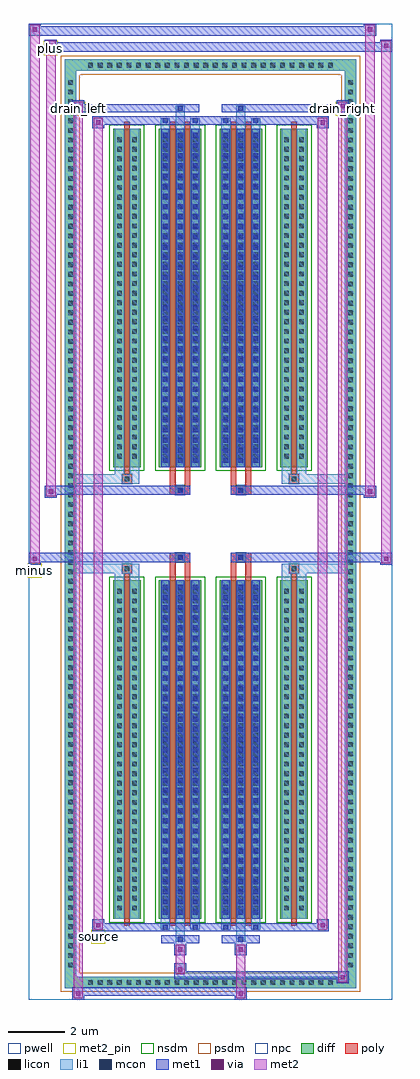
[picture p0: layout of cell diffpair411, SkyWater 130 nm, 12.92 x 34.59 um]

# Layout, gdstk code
import gdstk
lib = gdstk.Library(unit=1e-6, precision=5e-09)
def R(c, l, rs):  # rectangles x0, y0, x1, y1
    for r in rs: c.add(gdstk.rectangle(r[:2], r[2:], *l))
def A(c, l, x, y, w, h, nx, ny, dx, dy):  # array of equal rectangles
    R(c, l, [(x+i*dx, y+j*dy, x+i*dx+w, y+j*dy+h) for i in range(nx) for j in range(ny)])
def P(c, l, *ps):  # polygons
    for p in ps: c.add(gdstk.Polygon(p, *l))
pwell = (64, 44)
diff = (65, 20)
poly = (66, 20)
licon = (66, 44)
li1 = (67, 20)
mcon = (67, 44)
met1 = (68, 20)
via = (68, 44)
met2_pin = (69, 16)
met2 = (69, 20)
nsdm = (93, 44)
psdm = (94, 20)
npc = (95, 20)

diffpair411 = lib.new_cell('diffpair411')
R(diffpair411, pwell, [(-6.44,-16.86,6.44,17.73), (-3.76,-15.05,-0.01,-0.825), (0.01,-15.05,3.76,-0.825), (-3.76,0.825,-0.01,15.05), (0.01,0.825,3.76,15.05)])
A(diffpair411, diff, -4.455, -16.46, 0.41, 0.41, 26, 2, 0.34, 32.51)
A(diffpair411, diff, -5.17, -15.845, 0.41, 0.41, 1, 93, 0, 0.34)
A(diffpair411, diff, 4.76, -15.845, 0.41, 0.41, 1, 93, 0, 0.34)
R(diffpair411, diff, [(-4.455,-16.46,4.455,-16.05), (-5.17,-15.845,-4.76,15.845), (4.76,-15.845,5.17,15.845), (-3.45,-14.005,-2.47,-2.005), (-1.83,-14.005,-0.32,-2.005), (0.32,-14.005,1.83,-2.005), (2.47,-14.005,3.45,-2.005), (-3.45,2.005,-2.47,14.005), (-1.83,2.005,-0.32,14.005), (0.32,2.005,1.83,14.005), (2.47,2.005,3.45,14.005), (-4.455,16.05,4.455,16.46)])
P(diffpair411, diff, [(5.17,16.46),(-5.17,16.46),(-5.17,-16.05),(-4.76,-16.05),(-4.76,16.05),(4.76,16.05),(4.76,-16.05),(-4.76,-16.05),(-5.17,-16.05),(-5.17,-16.46),(5.17,-16.46)])
R(diffpair411, poly, [(-3.06,-14.255,-2.86,-1.755), (-1.44,-14.255,-1.24,-1.755), (-0.91,-14.255,-0.71,-1.755), (0.71,-14.255,0.91,-1.755), (1.24,-14.255,1.44,-1.755), (2.86,-14.255,3.06,-1.755), (-3.125,-1.755,-2.795,-1.425), (-3.125,-1.755,-2.795,-1.425), (-1.44,-1.755,-1.24,-1.355), (-0.91,-1.755,-0.71,-1.355), (0.71,-1.755,0.91,-1.355), (1.24,-1.755,1.44,-1.355), (2.795,-1.755,3.125,-1.425), (2.795,-1.755,3.125,-1.425), (-1.44,-1.355,-0.71,-1.025), (-1.24,-1.355,-0.91,-1.025), (0.71,-1.355,1.44,-1.025), (0.91,-1.355,1.24,-1.025), (-1.44,1.025,-0.71,1.355), (-1.24,1.025,-0.91,1.355), (0.71,1.025,1.44,1.355), (0.91,1.025,1.24,1.355), (-1.44,1.355,-1.24,1.755), (-0.91,1.355,-0.71,1.755), (0.71,1.355,0.91,1.755), (1.24,1.355,1.44,1.755), (-3.125,1.425,-2.795,1.755), (-3.125,1.425,-2.795,1.755), (2.795,1.425,3.125,1.755), (2.795,1.425,3.125,1.755), (-3.06,1.755,-2.86,14.255), (-1.44,1.755,-1.24,14.255), (-0.91,1.755,-0.71,14.255), (0.71,1.755,0.91,14.255), (1.24,1.755,1.44,14.255), (2.86,1.755,3.06,14.255)])
A(diffpair411, licon, -4.335, -16.34, 0.17, 0.17, 26, 2, 0.34, 32.51)
A(diffpair411, licon, -5.05, -15.725, 0.17, 0.17, 1, 93, 0, 0.34)
A(diffpair411, licon, 4.88, -15.725, 0.17, 0.17, 1, 93, 0, 0.34)
A(diffpair411, licon, -3.31, -13.7, 0.17, 0.17, 1, 34, 0, 0.34)
A(diffpair411, licon, -2.78, -13.7, 0.17, 0.17, 1, 34, 0, 0.34)
A(diffpair411, licon, -1.69, -13.7, 0.17, 0.17, 3, 34, 0.53, 0.34)
A(diffpair411, licon, 0.46, -13.7, 0.17, 0.17, 3, 34, 0.53, 0.34)
A(diffpair411, licon, 2.61, -13.7, 0.17, 0.17, 1, 34, 0, 0.34)
A(diffpair411, licon, 3.14, -13.7, 0.17, 0.17, 1, 34, 0, 0.34)
A(diffpair411, licon, -3.31, 2.31, 0.17, 0.17, 1, 34, 0, 0.34)
A(diffpair411, licon, -2.78, 2.31, 0.17, 0.17, 1, 34, 0, 0.34)
A(diffpair411, licon, -1.69, 2.31, 0.17, 0.17, 3, 34, 0.53, 0.34)
A(diffpair411, licon, 0.46, 2.31, 0.17, 0.17, 3, 34, 0.53, 0.34)
A(diffpair411, licon, 2.61, 2.31, 0.17, 0.17, 1, 34, 0, 0.34)
A(diffpair411, licon, 3.14, 2.31, 0.17, 0.17, 1, 34, 0, 0.34)
R(diffpair411, licon, [(-3.045,-1.675,-2.875,-1.505), (2.875,-1.675,3.045,-1.505), (-1.16,-1.275,-0.99,-1.105), (0.99,-1.275,1.16,-1.105), (-1.16,1.105,-0.99,1.275), (0.99,1.105,1.16,1.275), (-3.045,1.505,-2.875,1.675), (2.875,1.505,3.045,1.675)])
A(diffpair411, li1, -4.415, -16.42, 0.33, 0.33, 26, 2, 0.34, 32.51)
A(diffpair411, li1, -5.13, -15.805, 0.33, 0.33, 1, 93, 0, 0.34)
A(diffpair411, li1, 4.8, -15.805, 0.33, 0.33, 1, 93, 0, 0.34)
A(diffpair411, li1, -1.77, -14.005, 0.33, 12, 3, 2, 0.53, 16.01)
A(diffpair411, li1, 0.38, -14.005, 0.33, 12, 3, 2, 0.53, 16.01)
A(diffpair411, li1, -1.69, -13.85, 0.17, 0.17, 3, 33, 0.53, 0.36)
A(diffpair411, li1, -1.69, -13.85, 0.17, 11.69, 3, 2, 0.53, 16.01)
A(diffpair411, li1, 0.46, -13.85, 0.17, 0.17, 3, 33, 0.53, 0.36)
A(diffpair411, li1, 0.46, -13.85, 0.17, 11.69, 3, 2, 0.53, 16.01)
A(diffpair411, li1, -3.39, -13.78, 0.33, 0.33, 1, 34, 0, 0.34)
A(diffpair411, li1, -2.86, -13.78, 0.33, 0.33, 1, 34, 0, 0.34)
A(diffpair411, li1, -1.77, -13.78, 0.33, 0.33, 3, 34, 0.53, 0.34)
A(diffpair411, li1, 0.38, -13.78, 0.33, 0.33, 3, 34, 0.53, 0.34)
A(diffpair411, li1, 2.53, -13.78, 0.33, 0.33, 1, 34, 0, 0.34)
A(diffpair411, li1, 3.06, -13.78, 0.33, 0.33, 1, 34, 0, 0.34)
A(diffpair411, li1, -1.69, 2.16, 0.17, 0.17, 3, 33, 0.53, 0.36)
A(diffpair411, li1, 0.46, 2.16, 0.17, 0.17, 3, 33, 0.53, 0.36)
A(diffpair411, li1, -3.39, 2.23, 0.33, 0.33, 1, 34, 0, 0.34)
A(diffpair411, li1, -2.86, 2.23, 0.33, 0.33, 1, 34, 0, 0.34)
A(diffpair411, li1, -1.77, 2.23, 0.33, 0.33, 3, 34, 0.53, 0.34)
A(diffpair411, li1, 0.38, 2.23, 0.33, 0.33, 3, 34, 0.53, 0.34)
A(diffpair411, li1, 2.53, 2.23, 0.33, 0.33, 1, 34, 0, 0.34)
A(diffpair411, li1, 3.06, 2.23, 0.33, 0.33, 1, 34, 0, 0.34)
R(diffpair411, li1, [(-5.17,-16.46,-4.76,-16.05), (-5.17,-16.46,-4.76,-16.05), (-4.76,-16.46,4.76,-16.05), (4.76,-16.46,5.17,-16.05), (4.76,-16.46,5.17,-16.05), (-5.17,-16.05,-4.76,16.05), (4.76,-16.05,5.17,16.05), (-1.24,-14.81,-0.91,-14.005), (-1.16,-14.81,-0.99,-14.64), (0.91,-14.81,1.24,-14.005), (0.99,-14.81,1.16,-14.64), (-1.77,-14.38,-1.44,-14.005), (-1.69,-14.38,-1.52,-14.21), (-0.71,-14.38,-0.38,-14.005), (-0.63,-14.38,-0.46,-14.21), (0.38,-14.38,0.71,-14.005), (0.46,-14.38,0.63,-14.21), (1.44,-14.38,1.77,-14.005), (1.52,-14.38,1.69,-14.21), (-3.39,-14.005,-3.06,-2.005), (-2.86,-14.005,-2.53,-2.005), (2.53,-14.005,2.86,-2.005), (3.06,-14.005,3.39,-2.005), (-3.39,-2.005,-3.06,-1.425), (-2.86,-2.005,-2.53,-1.425), (2.53,-2.005,2.86,-1.425), (3.06,-2.005,3.39,-1.425), (-5.17,-1.755,-3.125,-1.425), (-3.39,-1.755,-3.125,-1.425), (-3.125,-1.755,-2.795,-1.425), (-2.795,-1.755,-2.53,-1.425), (2.53,-1.755,2.795,-1.425), (2.795,-1.755,3.125,-1.425), (2.795,-1.755,5.17,-1.425), (3.125,-1.755,3.39,-1.425), (-1.24,-1.355,-0.91,-1.025), (0.91,-1.355,1.24,-1.025), (-1.24,1.025,-0.91,1.355), (0.91,1.025,1.24,1.355), (-5.17,1.425,-3.125,1.755), (-3.39,1.425,-3.125,1.755), (-3.39,1.425,-3.06,2.005), (-3.125,1.425,-2.795,1.755), (-2.86,1.425,-2.53,2.005), (-2.795,1.425,-2.53,1.755), (2.53,1.425,2.795,1.755), (2.53,1.425,2.86,2.005), (2.795,1.425,3.125,1.755), (2.795,1.425,5.17,1.755), (3.06,1.425,3.39,2.005), (3.125,1.425,3.39,1.755), (-3.39,2.005,-3.06,14.005), (-2.86,2.005,-2.53,14.005), (2.53,2.005,2.86,14.005), (3.06,2.005,3.39,14.005), (-1.77,14.005,-1.44,14.38), (-1.24,14.005,-0.91,14.81), (-0.71,14.005,-0.38,14.38), (0.38,14.005,0.71,14.38), (0.91,14.005,1.24,14.81), (1.44,14.005,1.77,14.38), (-1.69,14.21,-1.52,14.38), (-0.63,14.21,-0.46,14.38), (0.46,14.21,0.63,14.38), (1.52,14.21,1.69,14.38), (-1.16,14.64,-0.99,14.81), (0.99,14.64,1.16,14.81), (-5.17,16.05,-4.76,16.46), (-5.17,16.05,-4.76,16.46), (-4.76,16.05,4.76,16.46), (4.76,16.05,5.17,16.46), (4.76,16.05,5.17,16.46)])
A(diffpair411, mcon, -1.69, -13.85, 0.17, 0.17, 3, 33, 0.53, 0.36)
A(diffpair411, mcon, 0.46, -13.85, 0.17, 0.17, 3, 33, 0.53, 0.36)
A(diffpair411, mcon, -1.69, 2.16, 0.17, 0.17, 3, 33, 0.53, 0.36)
A(diffpair411, mcon, 0.46, 2.16, 0.17, 0.17, 3, 33, 0.53, 0.36)
R(diffpair411, mcon, [(-1.16,-14.81,-0.99,-14.64), (0.99,-14.81,1.16,-14.64), (-1.69,-14.38,-1.52,-14.21), (-0.63,-14.38,-0.46,-14.21), (0.46,-14.38,0.63,-14.21), (1.52,-14.38,1.69,-14.21), (-1.16,-1.275,-0.99,-1.105), (0.99,-1.275,1.16,-1.105), (-1.16,1.105,-0.99,1.275), (0.99,1.105,1.16,1.275), (-1.69,14.21,-1.52,14.38), (-0.63,14.21,-0.46,14.38), (0.46,14.21,0.63,14.38), (1.52,14.21,1.69,14.38), (-1.16,14.64,-0.99,14.81), (0.99,14.64,1.16,14.81)])
A(diffpair411, met1, -1.75, -14.005, 0.29, 12, 3, 2, 0.53, 16.01)
A(diffpair411, met1, 0.4, -14.005, 0.29, 12, 3, 2, 0.53, 16.01)
A(diffpair411, met1, -1.75, -13.91, 0.29, 0.29, 3, 33, 0.53, 0.36)
A(diffpair411, met1, 0.4, -13.91, 0.29, 0.29, 3, 33, 0.53, 0.36)
A(diffpair411, met1, -1.75, 2.1, 0.29, 0.29, 3, 33, 0.53, 0.36)
A(diffpair411, met1, 0.4, 2.1, 0.29, 0.29, 3, 33, 0.53, 0.36)
R(diffpair411, met1, [(-4.9,-16.86,-4.47,-16.43), (0.86,-16.86,1.29,-16.43), (-4.9,-16.72,1.29,-16.43), (4.47,-16.29,4.9,-15.86), (-1.29,-16.15,4.9,-15.86), (-1.29,-16.01,-0.86,-15.58), (-1.29,-15.3,-0.86,-14.87), (0.86,-15.3,1.29,-14.87), (-1.75,-14.87,-0.4,-14.58), (-1.22,-14.87,-0.93,-14.58), (0.4,-14.87,1.75,-14.58), (0.93,-14.87,1.22,-14.58), (-4.19,-14.44,-3.76,-14.01), (-4.19,-14.44,-1.75,-14.15), (-1.75,-14.44,-1.46,-14.15), (-1.75,-14.44,-0.4,-14.15), (-0.69,-14.44,-0.4,-14.15), (-0.4,-14.44,0.4,-14.15), (0.4,-14.44,0.69,-14.15), (0.4,-14.44,1.75,-14.15), (1.46,-14.44,1.75,-14.15), (1.75,-14.44,4.19,-14.15), (3.76,-14.44,4.19,-14.01), (-6.44,-1.455,-6.01,-1.025), (6.01,-1.455,6.44,-1.025), (-6.44,-1.355,-0.71,-1.025), (-1.44,-1.355,-0.71,-1.025), (0.71,-1.355,1.44,-1.025), (0.71,-1.355,6.44,-1.025), (-1.22,-1.335,-0.93,-1.045), (0.93,-1.335,1.22,-1.045), (-5.87,0.925,-5.44,1.355), (5.44,0.925,5.87,1.355), (-5.87,1.025,-1.44,1.355), (-1.44,1.025,-0.71,1.355), (0.71,1.025,1.44,1.355), (1.44,1.025,5.87,1.355), (-1.22,1.045,-0.93,1.335), (0.93,1.045,1.22,1.335), (-4.19,14.01,-3.76,14.44), (3.76,14.01,4.19,14.44), (-4.19,14.15,-1.75,14.44), (-1.75,14.15,-1.46,14.44), (-1.75,14.15,-0.4,14.44), (-0.69,14.15,-0.4,14.44), (-0.4,14.15,0.4,14.44), (0.4,14.15,0.69,14.44), (0.4,14.15,1.75,14.44), (1.46,14.15,1.75,14.44), (1.75,14.15,4.19,14.44), (-4.9,14.58,-4.47,15.01), (-4.9,14.58,-1.75,14.87), (-1.75,14.58,-0.4,14.87), (-1.22,14.58,-0.93,14.87), (0.4,14.58,1.75,14.87), (0.93,14.58,1.22,14.87), (1.75,14.58,4.9,14.87), (4.47,14.58,4.9,15.01), (-5.87,16.73,-5.44,17.16), (-5.87,16.73,-3.76,17.06), (-3.76,16.73,3.76,17.06), (3.76,16.73,6.44,17.06), (6.01,16.73,6.44,17.16), (-6.44,17.3,-6.01,17.73), (-6.44,17.3,-3.76,17.63), (-3.76,17.3,3.76,17.63), (3.76,17.3,5.87,17.63), (5.44,17.3,5.87,17.73)])
R(diffpair411, via, [(-4.76,-16.72,-4.61,-16.57), (1,-16.72,1.15,-16.57), (4.61,-16.15,4.76,-16), (-1.15,-15.87,-1,-15.72), (-1.15,-15.16,-1,-15.01), (1,-15.16,1.15,-15.01), (-4.05,-14.3,-3.9,-14.15), (3.9,-14.3,4.05,-14.15), (-6.3,-1.315,-6.15,-1.165), (6.15,-1.315,6.3,-1.165), (-5.73,1.065,-5.58,1.215), (5.58,1.065,5.73,1.215), (-4.05,14.15,-3.9,14.3), (3.9,14.15,4.05,14.3), (-4.76,14.72,-4.61,14.87), (4.61,14.72,4.76,14.87), (-5.73,16.87,-5.58,17.02), (6.15,16.87,6.3,17.02), (-6.3,17.44,-6.15,17.59), (5.58,17.44,5.73,17.59)])
R(diffpair411, met2_pin, [(-4.225,-14.89,-3.725,-14.39), (-6.475,-1.905,-5.975,-1.405), (-4.935,14.46,-4.435,14.96), (4.435,14.46,4.935,14.96), (-5.905,16.61,-5.405,17.11)])
R(diffpair411, met2, [(-4.85,-16.81,-4.52,-16.48), (-4.85,-16.81,-4.52,14.96), (0.91,-16.81,1.24,-16.48), (0.91,-16.48,1.24,-15.25), (4.52,-16.24,4.85,-15.91), (4.52,-16.24,4.85,14.96), (-1.24,-15.96,-0.91,-15.63), (-1.24,-15.63,-0.91,-15.25), (-1.24,-15.25,-0.91,-14.92), (0.91,-15.25,1.24,-14.92), (-4.14,-14.39,-3.81,-14.06), (-4.14,-14.39,-3.81,14.39), (3.81,-14.39,4.14,-14.06), (3.81,-14.39,4.14,14.39), (-6.39,-1.405,-6.06,-1.075), (-6.39,-1.405,-6.06,17.68), (6.06,-1.405,6.39,-1.075), (6.06,-1.405,6.39,17.11), (-5.82,0.975,-5.49,1.305), (-5.82,0.975,-5.49,17.11), (5.49,0.975,5.82,1.305), (5.49,0.975,5.82,17.68), (-4.14,14.06,-3.81,14.39), (3.81,14.06,4.14,14.39), (-4.85,14.63,-4.52,14.96), (4.52,14.63,4.85,14.96), (-5.82,16.78,-5.49,17.11), (6.06,16.78,6.39,17.11), (-6.39,17.35,-6.06,17.68), (5.49,17.35,5.82,17.68)])
P(diffpair411, met2, [(6.39,-1.405),(6.39,-1.405),(6.39,-1.075),(6.39,-1.075)],
  [(6.39,16.78),(6.39,16.78),(6.39,17.11),(6.39,17.11)],
  [(-6.06,-1.405),(-6.06,-1.405),(-6.06,-1.075),(-6.06,-1.075)],
  [(-6.06,17.35),(-6.06,17.35),(-6.06,17.68),(-6.06,17.68)],
  [(5.82,0.975),(5.82,0.975),(5.82,1.305),(5.82,1.305)],
  [(5.82,17.35),(5.82,17.35),(5.82,17.68),(5.82,17.68)],
  [(-5.49,0.975),(-5.49,0.975),(-5.49,1.305),(-5.49,1.305)],
  [(-5.49,16.78),(-5.49,16.78),(-5.49,17.11),(-5.49,17.11)],
  [(-4.52,-16.81),(-4.52,-16.81),(-4.52,-16.48),(-4.52,-16.48)],
  [(-4.52,14.63),(-4.52,14.63),(-4.52,14.96),(-4.52,14.96)],
  [(4.85,-16.24),(4.85,-16.24),(4.85,-15.91),(4.85,-15.91)],
  [(4.85,14.63),(4.85,14.63),(4.85,14.96),(4.85,14.96)],
  [(-3.81,-14.39),(-3.81,-14.39),(-3.81,-14.06),(-3.81,-14.06)],
  [(-3.81,14.06),(-3.81,14.06),(-3.81,14.39),(-3.81,14.39)],
  [(4.14,-14.39),(4.14,-14.39),(4.14,-14.06),(4.14,-14.06)],
  [(4.14,14.06),(4.14,14.06),(4.14,14.39),(4.14,14.39)])
R(diffpair411, nsdm, [(-3.58,-14.135,-2.34,-1.875), (-1.96,-14.135,-0.19,-1.875), (0.19,-14.135,1.96,-1.875), (2.34,-14.135,3.58,-1.875), (-3.58,1.875,-2.34,14.135), (-1.96,1.875,-0.19,14.135), (0.19,1.875,1.96,14.135), (2.34,1.875,3.58,14.135)])
P(diffpair411, psdm, [(5.3,16.59),(-5.3,16.59),(-5.3,-15.92),(-4.63,-15.92),(-4.63,15.92),(4.63,15.92),(4.63,-15.92),(-4.63,-15.92),(-5.3,-15.92),(-5.3,-16.59),(5.3,-16.59)])
R(diffpair411, npc, [(-3.145,-1.775,-2.775,-1.405), (2.775,-1.775,3.145,-1.405), (-1.26,-1.375,-0.89,-1.005), (0.89,-1.375,1.26,-1.005), (-1.26,1.005,-0.89,1.375), (0.89,1.005,1.26,1.375), (-3.145,1.405,-2.775,1.775), (2.775,1.405,3.145,1.775)])
diffpair411.add(gdstk.Label('minus', (-6.225,-1.655), layer=69, texttype=5))
diffpair411.add(gdstk.Label('drain_right', (4.685,14.71), layer=69, texttype=5))
diffpair411.add(gdstk.Label('drain_left', (-4.685,14.71), layer=69, texttype=5))
diffpair411.add(gdstk.Label('source', (-3.975,-14.64), layer=69, texttype=5))
diffpair411.add(gdstk.Label('plus', (-5.655,16.86), layer=69, texttype=5))

lib.write_gds('diffpair411.gds')
